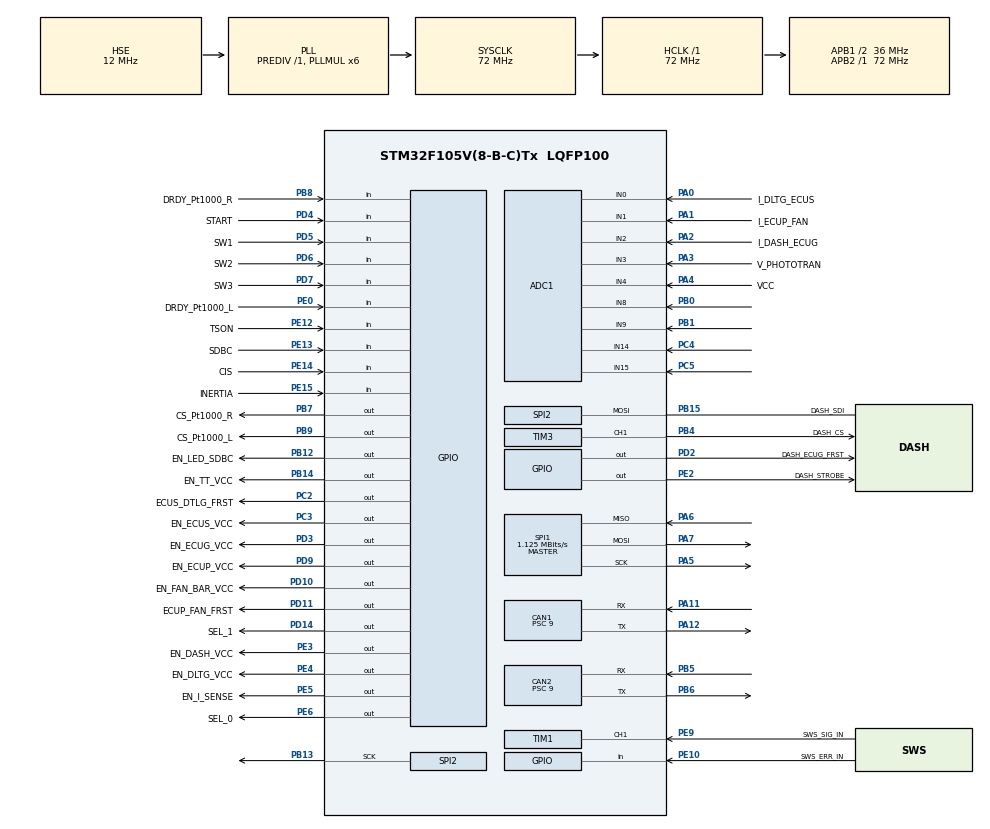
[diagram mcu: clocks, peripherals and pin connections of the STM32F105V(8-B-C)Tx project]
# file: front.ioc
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ADC1.Channel-0\#ChannelRegularConversion=ADC_CHANNEL_0
ADC1.Channel-1\#ChannelRegularConversion=ADC_CHANNEL_1
ADC1.Channel-2\#ChannelRegularConversion=ADC_CHANNEL_2
ADC1.Channel-3\#ChannelRegularConversion=ADC_CHANNEL_3
ADC1.Channel-4\#ChannelRegularConversion=ADC_CHANNEL_4
ADC1.Channel-5\#ChannelRegularConversion=ADC_CHANNEL_14
ADC1.Channel-6\#ChannelRegularConversion=ADC_CHANNEL_15
ADC1.Channel-7\#ChannelRegularConversion=ADC_CHANNEL_8
ADC1.Channel-8\#ChannelRegularConversion=ADC_CHANNEL_9
ADC1.ContinuousConvMode=ENABLE
ADC1.DataAlign=ADC_DATAALIGN_RIGHT
ADC1.DiscontinuousConvMode=DISABLE
ADC1.EnableAnalogWatchDog=false
ADC1.EnableRegularConversion=ENABLE
ADC1.ExternalTrigConv=ADC_SOFTWARE_START
ADC1.InjNumberOfConversion=0
ADC1.NbrOfConversion=9
ADC1.NbrOfConversionFlag=1
ADC1.Rank-0\#ChannelRegularConversion=1
ADC1.Rank-1\#ChannelRegularConversion=2
ADC1.Rank-2\#ChannelRegularConversion=3
ADC1.Rank-3\#ChannelRegularConversion=4
ADC1.Rank-4\#ChannelRegularConversion=5
ADC1.Rank-5\#ChannelRegularConversion=6
ADC1.Rank-6\#ChannelRegularConversion=7
ADC1.Rank-7\#ChannelRegularConversion=8
ADC1.Rank-8\#ChannelRegularConversion=9
ADC1.SamplingTime-0\#ChannelRegularConversion=ADC_SAMPLETIME_239CYCLES_5
ADC1.SamplingTime-1\#ChannelRegularConversion=ADC_SAMPLETIME_239CYCLES_5
ADC1.SamplingTime-2\#ChannelRegularConversion=ADC_SAMPLETIME_239CYCLES_5
ADC1.SamplingTime-3\#ChannelRegularConversion=ADC_SAMPLETIME_239CYCLES_5
ADC1.SamplingTime-4\#ChannelRegularConversion=ADC_SAMPLETIME_239CYCLES_5
ADC1.SamplingTime-5\#ChannelRegularConversion=ADC_SAMPLETIME_239CYCLES_5
ADC1.SamplingTime-6\#ChannelRegularConversion=ADC_SAMPLETIME_239CYCLES_5
ADC1.SamplingTime-7\#ChannelRegularConversion=ADC_SAMPLETIME_239CYCLES_5
ADC1.SamplingTime-8\#ChannelRegularConversion=ADC_SAMPLETIME_239CYCLES_5
ADC1.ScanConvMode=ADC_SCAN_ENABLE
ADC1.master=1
CAN1.ABOM=ENABLE
CAN1.BS1=CAN_BS1_6TQ
CAN1.CalculateTimeBit=750
CAN1.CalculateTimeQuantum=250.0
CAN1.Prescaler=9
CAN2.ABOM=ENABLE
CAN2.BS1=CAN_BS1_6TQ
CAN2.CalculateTimeBit=750
CAN2.CalculateTimeQuantum=250.0
CAN2.Prescaler=9
Dma.ADC1.0.Direction=DMA_PERIPH_TO_MEMORY
Dma.ADC1.0.Instance=DMA1_Channel1
Dma.ADC1.0.MemDataAlignment=DMA_MDATAALIGN_WORD
Dma.ADC1.0.MemInc=DMA_MINC_ENABLE
Dma.ADC1.0.Mode=DMA_CIRCULAR
Dma.ADC1.0.PeriphDataAlignment=DMA_PDATAALIGN_WORD
Dma.ADC1.0.PeriphInc=DMA_PINC_DISABLE
Dma.ADC1.0.Priority=DMA_PRIORITY_LOW
Dma.Request0=ADC1
Mcu.Family=STM32F1
Mcu.Name=STM32F105V(8-B-C)Tx
Mcu.Package=LQFP100
NVIC.ADC1_2_IRQn=true\:0\:0\:false\:false\:true\:true
NVIC.CAN1_RX0_IRQn=true\:0\:0\:false\:false\:true\:true
NVIC.CAN1_RX1_IRQn=true\:0\:0\:false\:false\:true\:true
NVIC.CAN1_SCE_IRQn=true\:0\:0\:false\:false\:true\:true
NVIC.CAN1_TX_IRQn=true\:0\:0\:false\:false\:true\:true
NVIC.CAN2_RX0_IRQn=true\:0\:0\:false\:false\:true\:true
NVIC.CAN2_RX1_IRQn=true\:0\:0\:false\:false\:true\:true
NVIC.CAN2_SCE_IRQn=true\:0\:0\:false\:false\:true\:true
NVIC.CAN2_TX_IRQn=true\:0\:0\:false\:false\:true\:true
NVIC.DMA1_Channel1_IRQn=true\:0\:0\:false\:false\:true\:false
NVIC.PriorityGroup=NVIC_PRIORITYGROUP_4
NVIC.TIM1_BRK_IRQn=true\:0\:0\:false\:false\:true\:true
NVIC.TIM1_CC_IRQn=true\:0\:0\:false\:false\:true\:true
NVIC.TIM1_TRG_COM_IRQn=true\:0\:0\:false\:false\:true\:true
NVIC.TIM1_UP_IRQn=true\:0\:0\:false\:false\:true\:true
OSC_IN.Mode=HSE-External-Oscillator
OSC_IN.Signal=RCC_OSC_IN
OSC_OUT.Mode=HSE-External-Oscillator
OSC_OUT.Signal=RCC_OSC_OUT
PA0-WKUP.GPIO_Label=I_DLTG_ECUS
PA0-WKUP.Signal=ADCx_IN0
PA1.GPIO_Label=I_ECUP_FAN
PA1.Signal=ADCx_IN1
PA11.Mode=Master
PA11.Signal=CAN1_RX
PA12.Mode=Master
PA12.Signal=CAN1_TX
PA13.Mode=Trace_Asynchronous_SW
PA13.Signal=SYS_JTMS-SWDIO
PA14.Mode=Trace_Asynchronous_SW
PA14.Signal=SYS_JTCK-SWCLK
PA2.GPIO_Label=I_DASH_ECUG
PA2.Signal=ADCx_IN2
PA3.GPIO_Label=V_PHOTOTRAN
PA3.Signal=ADCx_IN3
PA4.GPIO_Label=VCC
PA4.Signal=ADCx_IN4
PA5.Mode=Full_Duplex_Master
PA5.Signal=SPI1_SCK
PA6.Mode=Full_Duplex_Master
PA6.Signal=SPI1_MISO
PA7.Mode=Full_Duplex_Master
PA7.Signal=SPI1_MOSI
PB0.Signal=ADCx_IN8
PB1.Signal=ADCx_IN9
PB12.GPIO_Label=EN_LED_SDBC
PB12.Signal=GPIO_Output
PB13.Mode=Simplex_Bidirectional_Master
PB13.Signal=SPI2_SCK
PB14.GPIO_Label=EN_TT_VCC
PB14.Signal=GPIO_Output
PB15.GPIO_Label=DASH_SDI
PB15.Mode=Simplex_Bidirectional_Master
PB15.Signal=SPI2_MOSI
PB3.Mode=Trace_Asynchronous_SW
PB3.Signal=SYS_TRACESWO
PB4.GPIO_Label=DASH_CS
PB4.Signal=S_TIM3_CH1
PB5.Mode=Slave
PB5.Signal=CAN2_RX
PB6.Mode=Slave
PB6.Signal=CAN2_TX
PB7.GPIO_Label=CS_Pt1000_R
PB7.Signal=GPIO_Output
PB8.GPIO_Label=DRDY_Pt1000_R
PB8.Signal=GPIO_Input
PB9.GPIO_Label=CS_Pt1000_L
PB9.Signal=GPIO_Output
PC2.GPIO_Label=ECUS_DTLG_FRST
PC2.Signal=GPIO_Output
PC3.GPIO_Label=EN_ECUS_VCC
PC3.Signal=GPIO_Output
PC4.Signal=ADCx_IN14
PC5.Signal=ADCx_IN15
PD10.GPIO_Label=EN_FAN_BAR_VCC
PD10.Signal=GPIO_Output
PD11.GPIO_Label=ECUP_FAN_FRST
PD11.Signal=GPIO_Output
PD14.GPIO_Label=SEL_1
PD14.Signal=GPIO_Output
PD2.GPIO_Label=DASH_ECUG_FRST
PD2.Signal=GPIO_Output
PD3.GPIO_Label=EN_ECUG_VCC
PD3.Signal=GPIO_Output
PD4.GPIO_Label=START
PD4.Signal=GPIO_Input
PD5.GPIO_Label=SW1
PD5.Signal=GPIO_Input
PD6.GPIO_Label=SW2
PD6.Signal=GPIO_Input
PD7.GPIO_Label=SW3
PD7.Signal=GPIO_Input
PD9.GPIO_Label=EN_ECUP_VCC
PD9.Signal=GPIO_Output
PE0.GPIO_Label=DRDY_Pt1000_L
PE0.Signal=GPIO_Input
PE10.GPIO_Label=SWS_ERR_IN
PE10.Signal=GPIO_Input
PE12.GPIO_Label=TSON
PE12.Signal=GPIO_Input
PE13.GPIO_Label=SDBC
PE13.Signal=GPIO_Input
PE14.GPIO_Label=CIS
PE14.Signal=GPIO_Input
PE15.GPIO_Label=INERTIA
PE15.Signal=GPIO_Input
PE2.GPIO_Label=DASH_STROBE
PE2.Signal=GPIO_Output
PE3.GPIO_Label=EN_DASH_VCC
PE3.Signal=GPIO_Output
PE4.GPIO_Label=EN_DLTG_VCC
PE4.Signal=GPIO_Output
PE5.GPIO_Label=EN_I_SENSE
PE5.Signal=GPIO_Output
PE6.GPIO_Label=SEL_0
PE6.Signal=GPIO_Output
PE9.GPIO_Label=SWS_SIG_IN
PE9.Signal=S_TIM1_CH1
ProjectManager.HeapSize=0x200
ProjectManager.StackSize=0x400
ProjectManager.TargetToolchain=SW4STM32
RCC.ADCPresc=RCC_ADCPCLK2_DIV6
RCC.AHBFreq_Value=72000000
RCC.APB1CLKDivider=RCC_HCLK_DIV2
RCC.APB1Freq_Value=36000000
RCC.APB1TimFreq_Value=72000000
RCC.APB2Freq_Value=72000000
RCC.APB2TimFreq_Value=72000000
RCC.HCLKFreq_Value=72000000
RCC.HSE_VALUE=12000000
RCC.PLLMUL=RCC_PLL_MUL6
RCC.PLLSourceVirtual=RCC_PLLSOURCE_HSE
RCC.SYSCLKFreq_VALUE=72000000
RCC.SYSCLKSource=RCC_SYSCLKSOURCE_PLLCLK
RCC.USBFreq_Value=48000000
SH.ADCx_IN0.0=ADC1_IN0,IN0
SH.ADCx_IN1.0=ADC1_IN1,IN1
SH.ADCx_IN14.0=ADC1_IN14,IN14
SH.ADCx_IN15.0=ADC1_IN15,IN15
SH.ADCx_IN2.0=ADC1_IN2,IN2
SH.ADCx_IN3.0=ADC1_IN3,IN3
SH.ADCx_IN4.0=ADC1_IN4,IN4
SH.ADCx_IN8.0=ADC1_IN8,IN8
SH.ADCx_IN9.0=ADC1_IN9,IN9
SH.S_TIM1_CH1.0=TIM1_CH1,Input_Capture1_from_TI1
SH.S_TIM3_CH1.0=TIM3_CH1,PWM Generation1 CH1
SPI1.BaudRatePrescaler=SPI_BAUDRATEPRESCALER_64
SPI1.CalculateBaudRate=1.125 MBits/s
SPI1.DataSize=SPI_DATASIZE_8BIT
SPI1.Direction=SPI_DIRECTION_2LINES
SPI1.Mode=SPI_MODE_MASTER
SPI1.VirtualType=VM_MASTER
SPI2.CalculateBaudRate=18.0 MBits/s
SPI2.DataSize=SPI_DATASIZE_16BIT
SPI2.Direction=SPI_DIRECTION_1LINE
SPI2.Mode=SPI_MODE_MASTER
SPI2.VirtualType=VM_MASTER
TIM1.Channel-Input_Capture1_from_TI1=TIM_CHANNEL_1
TIM1.Period=100
TIM1.Prescaler=28
TIM3.Channel-PWM\ Generation1\ CH1=TIM_CHANNEL_1
TIM3.Period=99
TIM3.Prescaler=71
VP_TIM1_VS_ClockSourceINT.Mode=Internal
VP_TIM1_VS_ClockSourceITR.Mode=TriggerSource_ITR0
VP_TIM3_VS_ClockSourceINT.Mode=Internal
board=front

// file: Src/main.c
/**
  ******************************************************************************
  * @file           : main.c
  * @brief          : Main program body
  ******************************************************************************
  ******************************************************************************
  */
#include "stm32f1xx_hal.h"
#include "main.h"
#include "adc.h"
#include "can.h"
#include "dma.h"
#include "spi.h"
#include "tim.h"
#include "gpio.h"

/* USER CODE BEGIN Includes */
#include <math.h>
#include "pwm.h"

#include "can_ECUF.h"
#include "can_eforce_init.h"
/* USER CODE END Includes */

/* USER CODE BEGIN PV */
/* Private variables ---------------------------------------------------------*/
uint16_t photo;
uint32_t adc[9], buffer[9];

CanTxMsgTypeDef canTxMsg1;
CanRxMsgTypeDef canRxMsg1;
CanRxMsgTypeDef	canRxMsg2;
/* USER CODE END PV */

void SystemClock_Config(void);

/* USER CODE BEGIN PFP */
/* Private function prototypes -----------------------------------------------*/

/* USER CODE END PFP */

/* USER CODE BEGIN 0 */

void HAL_ADC_ConvCpltCallback(ADC_HandleTypeDef* hadc)
{
	for (int i = 0; i < 9; i++)
		{
		   adc[i] = buffer[i];  // store the values in adc[]
		}
	photo = rescale(adc[3], 0, 4096, 0, 255);

}

// Init interrupt-based PWM input on GPIOE pin 9
void InitPWMInput(void) {
	GPIO_InitTypeDef GPIO_InitStruct;
	GPIO_InitStruct.Pin = GPIO_PIN_9;
	GPIO_InitStruct.Mode = GPIO_MODE_IT_RISING_FALLING;
	GPIO_InitStruct.Pull = GPIO_NOPULL;
	GPIO_InitStruct.Speed = GPIO_SPEED_FREQ_LOW;
	HAL_GPIO_Init(GPIOE, &GPIO_InitStruct);

	// Edge interrupt for PWM input
	HAL_NVIC_SetPriority(EXTI9_5_IRQn, 0, 0);
	HAL_NVIC_EnableIRQ(EXTI9_5_IRQn);
}

PwmInput pwmSWS;
/* USER CODE END 0 */

int main(void)

{
  /* USER CODE BEGIN 1 */
	uint8_t config_reg_write[] = {0X00 | 0X80, 0xC2};

  /* USER CODE END 1 */

  /* MCU Configuration----------------------------------------------------------*/

  /* Reset of all peripherals, Initializes the Flash interface and the Systick. */
  HAL_Init();

  /* Configure the system clock */
  SystemClock_Config();

  /* Initialize all configured peripherals */
  MX_GPIO_Init();
  MX_DMA_Init();
  MX_CAN1_Init();
  MX_CAN2_Init();
  MX_ADC1_Init();
  MX_SPI2_Init();
  MX_TIM1_Init();
  MX_TIM3_Init();
  MX_SPI1_Init();
  /* USER CODE BEGIN 2 */
  HAL_ADC_Start_IT(&hadc1);
  HAL_ADC_Start_DMA (&hadc1, (uint32_t *) buffer, 9);

  CAN_eforce(&hcan1,CAN1,&canRxMsg1);
  CAN_eforce(&hcan2,CAN2,&canRxMsg2);

  txInit();
  candbInit();

  HAL_CAN_Receive_IT(&hcan1,CAN_FIFO0);
  HAL_TIM_PWM_Start (&htim3, TIM_CHANNEL_1);
  HAL_TIM_Base_Start(&htim1);

  setup();
/*
  ECUF_REQCalibSTW_t reqCalib1;
  reqCalib1.which=ECUF_CAL_STWIndex_STWCenter;
  calib(&reqCalib1);
*/

  HAL_GPIO_WritePin(CS_Pt1000_R_GPIO_Port,CS_Pt1000_R_Pin,GPIO_PIN_RESET);
  HAL_Delay(10);
  HAL_SPI_Transmit(&hspi1, &config_reg_write[0], 1, 60);
  HAL_SPI_Transmit(&hspi1, &config_reg_write[1], 1, 60);
  HAL_GPIO_WritePin(CS_Pt1000_R_GPIO_Port,CS_Pt1000_R_Pin,GPIO_PIN_SET);

  HAL_GPIO_WritePin(CS_Pt1000_L_GPIO_Port,CS_Pt1000_L_Pin,GPIO_PIN_RESET);
  HAL_Delay(10);
  HAL_SPI_Transmit(&hspi1, &config_reg_write[0], 1, 60);
  HAL_SPI_Transmit(&hspi1, &config_reg_write[1], 1, 60);
  HAL_GPIO_WritePin(CS_Pt1000_L_GPIO_Port,CS_Pt1000_L_Pin,GPIO_PIN_SET);

  PwmInput_Init(&pwmSWS);
  InitPWMInput();
  /* USER CODE END 2 */

  /* Infinite loop */
  /* USER CODE BEGIN WHILE */
  while (1)
  {
		//HAL_GPIO_TogglePin(EN_TT_VCC_GPIO_Port,EN_TT_VCC_Pin);

	  txProcess();
	  loop();

  /* USER CODE END WHILE */

  }

}

void SystemClock_Config(void)
{

  RCC_OscInitTypeDef RCC_OscInitStruct;
  RCC_ClkInitTypeDef RCC_ClkInitStruct;
  RCC_PeriphCLKInitTypeDef PeriphClkInit;

    /**Initializes the CPU, AHB and APB busses clocks
    */
  RCC_OscInitStruct.OscillatorType = RCC_OSCILLATORTYPE_HSE;
  RCC_OscInitStruct.HSEState = RCC_HSE_ON;
  RCC_OscInitStruct.HSEPredivValue = RCC_HSE_PREDIV_DIV1;
  RCC_OscInitStruct.HSIState = RCC_HSI_ON;
  RCC_OscInitStruct.Prediv1Source = RCC_PREDIV1_SOURCE_HSE;
  RCC_OscInitStruct.PLL.PLLState = RCC_PLL_ON;
  RCC_OscInitStruct.PLL.PLLSource = RCC_PLLSOURCE_HSE;
  RCC_OscInitStruct.PLL.PLLMUL = RCC_PLL_MUL6;
  RCC_OscInitStruct.PLL2.PLL2State = RCC_PLL_NONE;
  if (HAL_RCC_OscConfig(&RCC_OscInitStruct) != HAL_OK)
  {
    _Error_Handler(__FILE__, __LINE__);
  }

    /**Initializes the CPU, AHB and APB busses clocks
    */
  RCC_ClkInitStruct.ClockType = RCC_CLOCKTYPE_HCLK|RCC_CLOCKTYPE_SYSCLK
                              |RCC_CLOCKTYPE_PCLK1|RCC_CLOCKTYPE_PCLK2;
  RCC_ClkInitStruct.SYSCLKSource = RCC_SYSCLKSOURCE_PLLCLK;
  RCC_ClkInitStruct.AHBCLKDivider = RCC_SYSCLK_DIV1;
  RCC_ClkInitStruct.APB1CLKDivider = RCC_HCLK_DIV2;
  RCC_ClkInitStruct.APB2CLKDivider = RCC_HCLK_DIV1;

  if (HAL_RCC_ClockConfig(&RCC_ClkInitStruct, FLASH_LATENCY_2) != HAL_OK)
  {
    _Error_Handler(__FILE__, __LINE__);
  }

  PeriphClkInit.PeriphClockSelection = RCC_PERIPHCLK_ADC;
  PeriphClkInit.AdcClockSelection = RCC_ADCPCLK2_DIV6;
  if (HAL_RCCEx_PeriphCLKConfig(&PeriphClkInit) != HAL_OK)
  {
    _Error_Handler(__FILE__, __LINE__);
  }

    /**Configure the Systick interrupt time
    */
  HAL_SYSTICK_Config(HAL_RCC_GetHCLKFreq()/1000);

    /**Configure the Systick
    */
  HAL_SYSTICK_CLKSourceConfig(SYSTICK_CLKSOURCE_HCLK);

    /**Configure the Systick interrupt time
    */
  __HAL_RCC_PLLI2S_ENABLE();

  /* SysTick_IRQn interrupt configuration */
  HAL_NVIC_SetPriority(SysTick_IRQn, 0, 0);
}

void _Error_Handler(char *file, int line)
{
  while(1)
  {
  }
}

/************************ (C) COPYRIGHT STMicroelectronics *****END OF FILE****/
